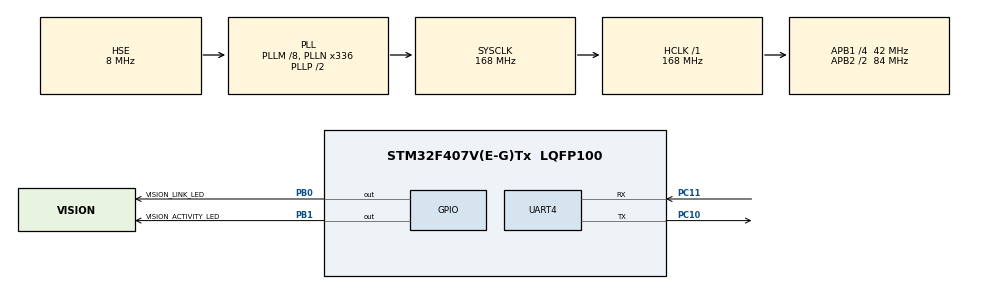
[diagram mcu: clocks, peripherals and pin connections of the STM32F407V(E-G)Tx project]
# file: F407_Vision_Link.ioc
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Mcu.Family=STM32F4
Mcu.Name=STM32F407V(E-G)Tx
Mcu.Package=LQFP100
NVIC.PriorityGroup=NVIC_PRIORITYGROUP_4
NVIC.UART4_IRQn=true\:0\:0\:false\:false\:true\:true\:true\:true
PA13.Mode=Serial_Wire
PA13.Signal=SYS_JTMS-SWDIO
PA14.Mode=Serial_Wire
PA14.Signal=SYS_JTCK-SWCLK
PB0.GPIO_Label=VISION_LINK_LED
PB0.PinState=GPIO_PIN_SET
PB0.Signal=GPIO_Output
PB1.GPIO_Label=VISION_ACTIVITY_LED
PB1.PinState=GPIO_PIN_SET
PB1.Signal=GPIO_Output
PC10.Mode=Asynchronous
PC10.Signal=UART4_TX
PC11.Mode=Asynchronous
PC11.Signal=UART4_RX
PH0-OSC_IN.Mode=HSE-External-Oscillator
PH0-OSC_IN.Signal=RCC_OSC_IN
PH1-OSC_OUT.Mode=HSE-External-Oscillator
PH1-OSC_OUT.Signal=RCC_OSC_OUT
ProjectManager.HeapSize=0x200
ProjectManager.StackSize=0x400
ProjectManager.TargetToolchain=MDK-ARM V5
RCC.48MHZClocksFreq_Value=84000000
RCC.AHBFreq_Value=168000000
RCC.APB1CLKDivider=RCC_HCLK_DIV4
RCC.APB1Freq_Value=42000000
RCC.APB1TimFreq_Value=84000000
RCC.APB2CLKDivider=RCC_HCLK_DIV2
RCC.APB2Freq_Value=84000000
RCC.APB2TimFreq_Value=168000000
RCC.CortexFreq_Value=168000000
RCC.HCLKFreq_Value=168000000
RCC.HSE_VALUE=8000000
RCC.HSI_VALUE=16000000
RCC.LSE_VALUE=32768
RCC.PLLM=8
RCC.PLLN=336
RCC.PLLSourceVirtual=RCC_PLLSOURCE_HSE
RCC.SYSCLKFreq_VALUE=168000000
RCC.SYSCLKSource=RCC_SYSCLKSOURCE_PLLCLK
RCC.VCOOutputFreq_Value=336000000
UART4.VirtualMode=Asynchronous
board=custom

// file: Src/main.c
/* USER CODE BEGIN Header */
/**
  ******************************************************************************
  * @file           : main.c
  * @brief          : Main program body
  ******************************************************************************
  * @attention
  *
  * Copyright (c) 2026 STMicroelectronics.
  * All rights reserved.
  *
  * This software is licensed under terms that can be found in the LICENSE file
  * in the root directory of this software component.
  * If no LICENSE file comes with this software, it is provided AS-IS.
  *
  ******************************************************************************
  */
/* USER CODE END Header */
#include "main.h"
#include "usart.h"
#include "gpio.h"

/* USER CODE BEGIN Includes */
#include "vision_link_hal.h"
/* USER CODE END Includes */

/* USER CODE BEGIN PV */
static vl_hal_link_t g_vision_link;
static vl_observation_t g_latest_observation;
static vl_ack_t g_latest_ack;
static uint8_t g_command_seq;
static uint8_t g_pending_command_seq;
static uint8_t g_command_pending;
static uint8_t g_command_retry_count;
static uint8_t g_next_mode;
static uint32_t g_last_command_ms;
static uint32_t g_ack_led_until_ms;
static uint32_t g_ack_success_count;
static uint32_t g_ack_timeout_count;
/* USER CODE END PV */

void SystemClock_Config(void);

int main(void)
{

  /* MCU Configuration--------------------------------------------------------*/

  /* Reset of all peripherals, Initializes the Flash interface and the Systick. */
  HAL_Init();

  /* Configure the system clock */
  SystemClock_Config();

  /* Initialize all configured peripherals */
  MX_GPIO_Init();
  MX_UART4_Init();
  /* USER CODE BEGIN 2 */
  /* Power-on lamp test: both onboard user LEDs are active-low. */
  HAL_GPIO_WritePin(VISION_LINK_LED_GPIO_Port, VISION_LINK_LED_Pin, GPIO_PIN_RESET);
  HAL_GPIO_WritePin(VISION_ACTIVITY_LED_GPIO_Port, VISION_ACTIVITY_LED_Pin, GPIO_PIN_RESET);
  HAL_Delay(150u);
  HAL_GPIO_WritePin(VISION_LINK_LED_GPIO_Port, VISION_LINK_LED_Pin, GPIO_PIN_SET);
  HAL_GPIO_WritePin(VISION_ACTIVITY_LED_GPIO_Port, VISION_ACTIVITY_LED_Pin, GPIO_PIN_SET);

  vl_hal_init(&g_vision_link, &huart4);
  if (vl_hal_start_rx(&g_vision_link) != HAL_OK)
  {
    Error_Handler();
  }
/* USER CODE END 2 */

  /* Infinite loop */
  while (1)
  {

    /* USER CODE BEGIN 3 */
    uint32_t now_ms = HAL_GetTick();
    vl_command_t command;

    vl_hal_process(&g_vision_link, now_ms);
    if (vl_hal_take_observation(&g_vision_link, &g_latest_observation))
    {
      /* Observation is retained for the application/control layer. */
    }

    if (vl_hal_take_ack(&g_vision_link, &g_latest_ack))
    {
      if (g_command_pending != 0u
          && g_latest_ack.request_type == VL_TYPE_COMMAND
          && g_latest_ack.request_seq == g_pending_command_seq
          && g_latest_ack.status == 0u)
      {
        g_command_pending = 0u;
        g_ack_success_count++;
        g_next_mode ^= 1u;
        g_ack_led_until_ms = now_ms + 150u;
      }
    }

    if (g_command_pending == 0u && (uint32_t)(now_ms - g_last_command_ms) >= 2000u)
    {
      command.command_id = 0x01u; /* SET_MODE */
      command.mode = g_next_mode;
      command.arg0 = 0;
      command.arg1 = 0;
      command.arg2 = 0;
      g_pending_command_seq = g_command_seq++;
      if (vl_hal_send_command(&g_vision_link, g_pending_command_seq, &command) == HAL_OK)
      {
        g_command_pending = 1u;
        g_command_retry_count = 0u;
        g_last_command_ms = now_ms;
      }
    }
    else if (g_command_pending != 0u && (uint32_t)(now_ms - g_last_command_ms) >= 100u)
    {
      if (g_command_retry_count < 2u)
      {
        command.command_id = 0x01u;
        command.mode = g_next_mode;
        command.arg0 = 0;
        command.arg1 = 0;
        command.arg2 = 0;
        (void)vl_hal_send_command(&g_vision_link, g_pending_command_seq, &command);
        g_command_retry_count++;
        g_last_command_ms = now_ms;
      }
      else
      {
        g_command_pending = 0u;
        g_ack_timeout_count++;
        g_last_command_ms = now_ms;
      }
    }

    /* PB0 stays on only while a valid observation is fresh. */
    HAL_GPIO_WritePin(VISION_LINK_LED_GPIO_Port, VISION_LINK_LED_Pin,
                      vl_hal_observation_is_fresh(&g_vision_link, now_ms, 150u)
                      ? GPIO_PIN_RESET : GPIO_PIN_SET);

    /* PB1 gives a 150 ms pulse for each matched successful ACK. */
    HAL_GPIO_WritePin(VISION_ACTIVITY_LED_GPIO_Port, VISION_ACTIVITY_LED_Pin,
                      (int32_t)(g_ack_led_until_ms - now_ms) > 0
                      ? GPIO_PIN_RESET : GPIO_PIN_SET);
  }
  /* USER CODE END 3 */
}

void SystemClock_Config(void)
{
  RCC_OscInitTypeDef RCC_OscInitStruct = {0};
  RCC_ClkInitTypeDef RCC_ClkInitStruct = {0};

  /** Configure the main internal regulator output voltage
  */
  __HAL_RCC_PWR_CLK_ENABLE();
  __HAL_PWR_VOLTAGESCALING_CONFIG(PWR_REGULATOR_VOLTAGE_SCALE1);

  /** Initializes the RCC Oscillators according to the specified parameters
  * in the RCC_OscInitTypeDef structure.
  */
  RCC_OscInitStruct.OscillatorType = RCC_OSCILLATORTYPE_HSE;
  RCC_OscInitStruct.HSEState = RCC_HSE_ON;
  RCC_OscInitStruct.PLL.PLLState = RCC_PLL_ON;
  RCC_OscInitStruct.PLL.PLLSource = RCC_PLLSOURCE_HSE;
  RCC_OscInitStruct.PLL.PLLM = 8;
  RCC_OscInitStruct.PLL.PLLN = 336;
  RCC_OscInitStruct.PLL.PLLP = RCC_PLLP_DIV2;
  RCC_OscInitStruct.PLL.PLLQ = 4;
  if (HAL_RCC_OscConfig(&RCC_OscInitStruct) != HAL_OK)
  {
    Error_Handler();
  }

  /** Initializes the CPU, AHB and APB buses clocks
  */
  RCC_ClkInitStruct.ClockType = RCC_CLOCKTYPE_HCLK|RCC_CLOCKTYPE_SYSCLK
                              |RCC_CLOCKTYPE_PCLK1|RCC_CLOCKTYPE_PCLK2;
  RCC_ClkInitStruct.SYSCLKSource = RCC_SYSCLKSOURCE_PLLCLK;
  RCC_ClkInitStruct.AHBCLKDivider = RCC_SYSCLK_DIV1;
  RCC_ClkInitStruct.APB1CLKDivider = RCC_HCLK_DIV4;
  RCC_ClkInitStruct.APB2CLKDivider = RCC_HCLK_DIV2;

  if (HAL_RCC_ClockConfig(&RCC_ClkInitStruct, FLASH_LATENCY_5) != HAL_OK)
  {
    Error_Handler();
  }
}

/* USER CODE BEGIN 4 */
void HAL_UART_RxCpltCallback(UART_HandleTypeDef *huart)
{
  vl_hal_uart_rx_cplt_isr(&g_vision_link, huart);
}

void HAL_UART_ErrorCallback(UART_HandleTypeDef *huart)
{
  vl_hal_uart_error_isr(&g_vision_link, huart);
}
/* USER CODE END 4 */

void Error_Handler(void)
{
  __disable_irq();
  while (1)
  {
  }
}
